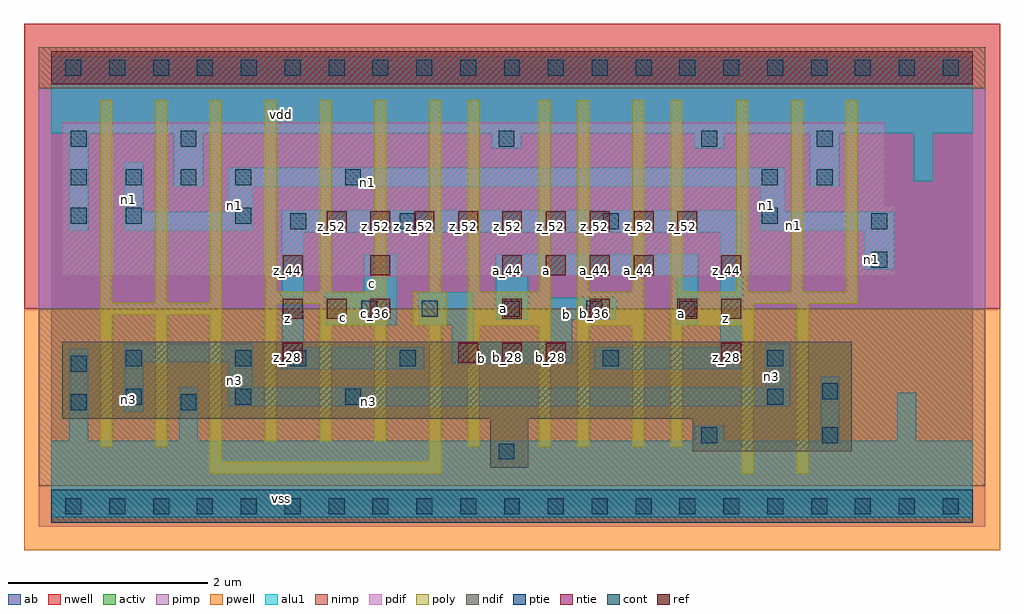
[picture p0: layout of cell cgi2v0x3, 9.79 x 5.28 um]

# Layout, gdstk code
import gdstk
lib = gdstk.Library(unit=1e-6, precision=2.5e-09)
def R(c, l, rs):  # rectangles x0, y0, x1, y1
    for r in rs: c.add(gdstk.rectangle(r[:2], r[2:], *l))
def A(c, l, x, y, w, h, nx, ny, dx, dy):  # array of equal rectangles
    R(c, l, [(x+i*dx, y+j*dy, x+i*dx+w, y+j*dy+h) for i in range(nx) for j in range(ny)])
ndif = (3, 0)
pdif = (4, 0)
ntie = (5, 0)
ptie = (6, 0)
ref = (24, 0)
cont = (25, 0)
pwell = (41, 0)
nwell = (42, 0)
activ = (43, 0)
pimp = (44, 0)
nimp = (45, 0)
poly = (46, 0)
alu1 = (49, 0)
ab = (63, 0)

cgi2v0x3 = lib.new_cell('cgi2v0x3')
R(cgi2v0x3, ndif, [(4.4,0.385,4.785,0.88), (6.435,0.55,8.03,0.88), (0.11,0.88,8.03,1.65)])
R(cgi2v0x3, pdif, [(0.11,2.31,8.47,3.025), (0.11,3.025,8.36,3.85)])
R(cgi2v0x3, ntie, [(0,4.235,9.24,4.565)])
R(cgi2v0x3, ptie, [(0,-0.165,9.24,0.165)])
A(cgi2v0x3, ref, 4.08, 1.44, 0.2, 0.2, 3, 1, 0.44, 0)
A(cgi2v0x3, ref, 6.72, 1.44, 0.2, 0.2, 1, 3, 0, 0.44)
A(cgi2v0x3, ref, 2.32, 1.88, 0.2, 0.2, 3, 1, 0.44, 0)
A(cgi2v0x3, ref, 4.52, 1.88, 0.2, 0.2, 3, 1, 0.88, 0)
A(cgi2v0x3, ref, 4.52, 2.32, 0.2, 0.2, 4, 1, 0.44, 0)
A(cgi2v0x3, ref, 2.76, 2.76, 0.2, 0.2, 9, 1, 0.44, 0)
R(cgi2v0x3, ref, [(2.32,1.44,2.52,1.64), (2.32,2.32,2.52,2.52), (3.2,2.32,3.4,2.52)])
A(cgi2v0x3, cont, 0.14, -0.08, 0.16, 0.16, 21, 2, 0.44, 4.4)
A(cgi2v0x3, cont, 0.745, 1.02, 0.16, 0.16, 3, 1, 1.1, 0)
A(cgi2v0x3, cont, 3.715, 1.9, 0.16, 0.16, 3, 1, 0.825, 0)
A(cgi2v0x3, cont, 0.195, 3.22, 0.16, 0.16, 4, 1, 0.55, 0)
R(cgi2v0x3, cont, [(4.485,0.47,4.645,0.63), (6.52,0.635,6.68,0.795), (7.73,0.635,7.89,0.795), (0.195,0.965,0.355,1.125), (1.295,0.965,1.455,1.125), (7.18,1.02,7.34,1.18), (7.73,1.075,7.89,1.235), (0.195,1.35,0.355,1.51), (0.745,1.405,0.905,1.565), (1.845,1.405,2.005,1.565), (2.395,1.405,2.555,1.565), (3.495,1.405,3.655,1.565), (5.53,1.405,5.69,1.565), (7.18,1.405,7.34,1.565), (3.11,1.9,3.27,2.06), (6.3,1.9,6.46,2.06), (8.225,2.395,8.385,2.555), (2.395,2.78,2.555,2.94), (3.495,2.78,3.655,2.94), (5.53,2.78,5.69,2.94), (8.225,2.78,8.385,2.94), (0.195,2.835,0.355,2.995), (0.745,2.835,0.905,2.995), (1.845,2.835,2.005,2.995), (7.125,2.835,7.285,2.995), (2.945,3.22,3.105,3.38), (7.125,3.22,7.285,3.38), (7.675,3.22,7.835,3.38), (0.195,3.605,0.355,3.765), (1.295,3.605,1.455,3.765), (4.485,3.605,4.645,3.765), (6.52,3.605,6.68,3.765), (7.675,3.605,7.835,3.765)])
R(cgi2v0x3, pwell, [(-0.275,-0.44,9.515,1.98)])
R(cgi2v0x3, nwell, [(-0.275,1.98,9.515,4.84)])
R(cgi2v0x3, activ, [(0,-0.165,9.24,0.165), (4.4,0.385,4.785,0.88), (6.435,0.55,8.03,0.88), (0.11,0.88,8.03,1.65), (0.11,2.31,8.47,3.025), (0.11,3.025,8.36,3.85), (0,4.235,9.24,4.565)])
R(cgi2v0x3, pimp, [(-0.125,-0.205,9.365,0.205), (-0.125,1.98,9.365,4.195)])
R(cgi2v0x3, nimp, [(-0.125,0.205,9.365,1.98), (-0.125,4.195,9.365,4.605)])
A(cgi2v0x3, poly, 0.49, 2.04, 0.12, 2.035, 3, 1, 0.55, 0)
A(cgi2v0x3, poly, 2.14, 2.15, 0.12, 1.925, 4, 1, 0.55, 0)
A(cgi2v0x3, poly, 6.87, 2.15, 0.12, 1.925, 3, 1, 0.55, 0)
R(cgi2v0x3, poly, [(1.59,0.325,3.91,0.445), (6.925,0.325,7.045,1.81), (7.475,0.325,7.595,2.03), (1.59,0.445,1.71,1.92), (3.79,0.445,3.91,1.81), (0.49,0.6,0.61,1.92), (1.04,0.6,1.16,1.92), (4.175,0.6,4.295,1.81), (4.89,0.6,5.01,1.81), (5.275,0.6,5.395,1.81), (5.825,0.6,5.945,1.81), (6.21,0.6,6.33,1.81), (2.14,0.655,2.26,2.03), (2.69,0.655,2.81,1.81), (3.24,0.655,3.36,1.81), (2.69,1.81,3.36,2.03), (3.625,1.81,3.965,2.15), (4.175,1.81,5.01,2.15), (5.275,1.81,5.945,2.15), (6.21,1.81,7.045,2.03), (0.49,1.92,1.71,2.04), (2.14,2.03,3.36,2.15), (6.21,2.03,8.09,2.15), (4.175,2.15,4.295,4.075), (4.89,2.15,5.01,4.075), (5.275,2.15,5.395,4.075), (5.825,2.15,5.945,4.075), (6.21,2.15,6.33,4.075)])
R(cgi2v0x3, alu1, [(0,-0.11,9.24,0.66), (0.18,0.66,0.37,1.58), (1.28,0.66,1.47,1.195), (6.45,0.66,6.75,0.81), (7.715,0.66,7.905,1.305), (8.485,0.66,8.675,1.14), (0.73,0.95,0.92,1.445), (1.775,1.005,7.41,1.195), (1.775,1.195,2.02,1.445), (7.165,1.195,7.41,1.635), (2.31,1.375,3.74,1.595), (5.445,1.375,6.93,1.595), (4.015,1.43,5.225,1.65), (0.73,1.445,2.02,1.635), (2.31,1.595,2.53,2.75), (6.71,1.595,6.93,2.75), (4.015,1.65,4.235,1.815), (5.005,1.65,5.225,1.87), (2.75,1.815,3.465,2.145), (3.685,1.815,4.235,2.145), (6.27,1.815,6.49,2.31), (4.455,1.87,4.785,2.31), (5.005,1.87,5.665,2.09), (3.135,2.145,3.465,2.53), (4.455,2.31,6.49,2.53), (8.155,2.38,8.455,2.765), (2.31,2.75,6.93,2.97), (0.18,2.765,0.37,3.74), (0.73,2.765,2.02,2.955), (7.11,2.765,8.455,2.955), (0.73,2.955,0.92,3.45), (1.775,2.955,2.02,3.205), (7.11,2.955,7.355,3.205), (1.225,3.205,1.525,3.74), (1.775,3.205,7.355,3.395), (7.605,3.205,7.905,3.74), (8.65,3.26,8.84,3.74), (4.415,3.59,4.715,3.74), (6.45,3.59,6.75,3.74), (0,3.74,9.24,4.51)])
R(cgi2v0x3, ab, [(0,0,9.24,4.4)])
cgi2v0x3.add(gdstk.Label('vss', (2.31,0.0825), layer=49, texttype=0))
cgi2v0x3.add(gdstk.Label('n3', (3.1825,1.0525), layer=49, texttype=0))
cgi2v0x3.add(gdstk.Label('n3', (7.225,1.305), layer=49, texttype=0))
cgi2v0x3.add(gdstk.Label('n1', (8.23,2.475), layer=49, texttype=0))
cgi2v0x3.add(gdstk.Label('z', (6.765,1.8825), layer=49, texttype=0))
cgi2v0x3.add(gdstk.Label('b', (4.3175,1.485), layer=49, texttype=0))
cgi2v0x3.add(gdstk.Label('a', (6.325,1.9375), layer=49, texttype=0))
cgi2v0x3.add(gdstk.Label('b', (5.17,1.925), layer=49, texttype=0))
cgi2v0x3.add(gdstk.Label('a', (4.5375,1.98), layer=49, texttype=0))
cgi2v0x3.add(gdstk.Label('c', (2.9275,1.8975), layer=49, texttype=0))
cgi2v0x3.add(gdstk.Label('a', (4.9625,2.365), layer=49, texttype=0))
cgi2v0x3.add(gdstk.Label('c', (3.2175,2.24), layer=49, texttype=0))
cgi2v0x3.add(gdstk.Label('z', (2.365,1.8825), layer=49, texttype=0))
cgi2v0x3.add(gdstk.Label('n3', (1.835,1.2575), layer=49, texttype=0))
cgi2v0x3.add(gdstk.Label('n3', (0.7775,1.0725), layer=49, texttype=0))
cgi2v0x3.add(gdstk.Label('n1', (7.445,2.8125), layer=49, texttype=0))
cgi2v0x3.add(gdstk.Label('n1', (7.17,3.0175), layer=49, texttype=0))
cgi2v0x3.add(gdstk.Label('z', (3.465,2.805), layer=49, texttype=0))
cgi2v0x3.add(gdstk.Label('n1', (1.835,3.0175), layer=49, texttype=0))
cgi2v0x3.add(gdstk.Label('n1', (3.17,3.2525), layer=49, texttype=0))
cgi2v0x3.add(gdstk.Label('n1', (0.7775,3.0775), layer=49, texttype=0))
cgi2v0x3.add(gdstk.Label('vdd', (2.31,3.9325), layer=49, texttype=0))
cgi2v0x3.add(gdstk.Label('b_36', (5.45,1.93), layer=24, texttype=0))
cgi2v0x3.add(gdstk.Label('a_44', (5.45,2.37), layer=24, texttype=0))
cgi2v0x3.add(gdstk.Label('z_52', (5.45,2.81), layer=24, texttype=0))
cgi2v0x3.add(gdstk.Label('a_44', (5.89,2.37), layer=24, texttype=0))
cgi2v0x3.add(gdstk.Label('z_52', (5.89,2.81), layer=24, texttype=0))
cgi2v0x3.add(gdstk.Label('a_36', (6.33,1.93), layer=24, texttype=0))
cgi2v0x3.add(gdstk.Label('z_52', (6.33,2.81), layer=24, texttype=0))
cgi2v0x3.add(gdstk.Label('z_28', (6.77,1.49), layer=24, texttype=0))
cgi2v0x3.add(gdstk.Label('z_36', (6.77,1.93), layer=24, texttype=0))
cgi2v0x3.add(gdstk.Label('z_44', (6.77,2.37), layer=24, texttype=0))
cgi2v0x3.add(gdstk.Label('z_28', (2.37,1.49), layer=24, texttype=0))
cgi2v0x3.add(gdstk.Label('z_36', (2.37,1.93), layer=24, texttype=0))
cgi2v0x3.add(gdstk.Label('z_44', (2.37,2.37), layer=24, texttype=0))
cgi2v0x3.add(gdstk.Label('c_36', (2.81,1.93), layer=24, texttype=0))
cgi2v0x3.add(gdstk.Label('z_52', (2.81,2.81), layer=24, texttype=0))
cgi2v0x3.add(gdstk.Label('c_36', (3.25,1.93), layer=24, texttype=0))
cgi2v0x3.add(gdstk.Label('c_44', (3.25,2.37), layer=24, texttype=0))
cgi2v0x3.add(gdstk.Label('z_52', (3.25,2.81), layer=24, texttype=0))
cgi2v0x3.add(gdstk.Label('z_52', (3.69,2.81), layer=24, texttype=0))
cgi2v0x3.add(gdstk.Label('b_28', (4.13,1.49), layer=24, texttype=0))
cgi2v0x3.add(gdstk.Label('z_52', (4.13,2.81), layer=24, texttype=0))
cgi2v0x3.add(gdstk.Label('b_28', (4.57,1.49), layer=24, texttype=0))
cgi2v0x3.add(gdstk.Label('a_36', (4.57,1.93), layer=24, texttype=0))
cgi2v0x3.add(gdstk.Label('a_44', (4.57,2.37), layer=24, texttype=0))
cgi2v0x3.add(gdstk.Label('z_52', (4.57,2.81), layer=24, texttype=0))
cgi2v0x3.add(gdstk.Label('b_28', (5.01,1.49), layer=24, texttype=0))
cgi2v0x3.add(gdstk.Label('a_44', (5.01,2.37), layer=24, texttype=0))
cgi2v0x3.add(gdstk.Label('z_52', (5.01,2.81), layer=24, texttype=0))

lib.write_gds('cgi2v0x3.gds')
